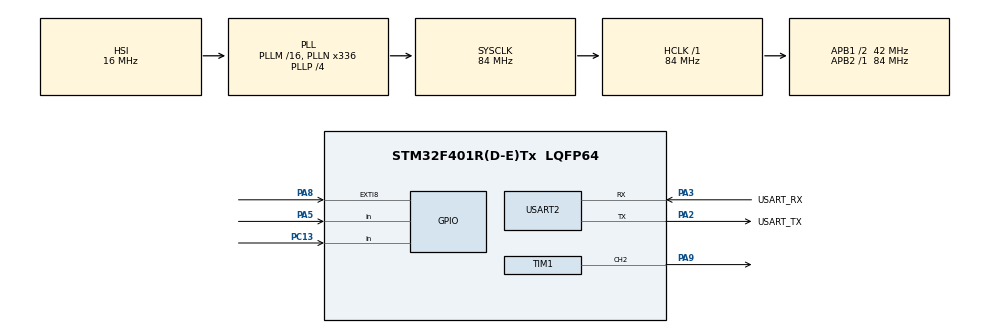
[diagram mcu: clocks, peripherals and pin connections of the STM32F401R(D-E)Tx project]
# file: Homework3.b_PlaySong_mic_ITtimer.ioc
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Mcu.Family=STM32F4
Mcu.Name=STM32F401R(D-E)Tx
Mcu.Package=LQFP64
NVIC.EXTI9_5_IRQn=true\:0\:0\:true\:false\:true\:true\:true\:true
NVIC.PriorityGroup=NVIC_PRIORITYGROUP_1
NVIC.TIM2_IRQn=true\:0\:0\:false\:false\:true\:true\:true\:true
PA13.GPIO_Label=TMS
PA13.Mode=Serial_Wire
PA13.Signal=SYS_JTMS-SWDIO
PA14.GPIO_Label=TCK
PA14.Mode=Serial_Wire
PA14.Signal=SYS_JTCK-SWCLK
PA2.GPIO_Label=USART_TX
PA2.GPIO_Mode=GPIO_MODE_AF_PP
PA2.GPIO_PuPd=GPIO_NOPULL
PA2.GPIO_Speed=GPIO_SPEED_FREQ_LOW
PA2.Mode=Asynchronous
PA2.Signal=USART2_TX
PA3.GPIO_Label=USART_RX
PA3.GPIO_Mode=GPIO_MODE_AF_PP
PA3.GPIO_PuPd=GPIO_NOPULL
PA3.GPIO_Speed=GPIO_SPEED_FREQ_LOW
PA3.Mode=Asynchronous
PA3.Signal=USART2_RX
PA5.Signal=GPIO_Input
PA8.GPIO_ModeDefaultEXTI=GPIO_MODE_IT_RISING_FALLING
PA8.Signal=GPXTI8
PA9.Signal=S_TIM1_CH2
PB3.GPIO_Label=SWO
PB3.Signal=SYS_JTDO-SWO
PC13-ANTI_TAMP.Signal=GPIO_Input
PC14-OSC32_IN.Mode=LSE-External-Oscillator
PC14-OSC32_IN.Signal=RCC_OSC32_IN
PC15-OSC32_OUT.Mode=LSE-External-Oscillator
PC15-OSC32_OUT.Signal=RCC_OSC32_OUT
PH0\ -\ OSC_IN.Mode=HSE-External-Clock-Source
PH0\ -\ OSC_IN.Signal=RCC_OSC_IN
PH1\ -\ OSC_OUT.Mode=HSE-External-Clock-Source
PH1\ -\ OSC_OUT.Signal=RCC_OSC_OUT
ProjectManager.HeapSize=0x200
ProjectManager.StackSize=0x400
ProjectManager.TargetToolchain=STM32CubeIDE
RCC.48MHZClocksFreq_Value=48000000
RCC.AHBFreq_Value=84000000
RCC.APB1CLKDivider=RCC_HCLK_DIV2
RCC.APB1Freq_Value=42000000
RCC.APB1TimFreq_Value=84000000
RCC.APB2Freq_Value=84000000
RCC.APB2TimFreq_Value=84000000
RCC.CortexFreq_Value=84000000
RCC.HCLKFreq_Value=84000000
RCC.HSE_VALUE=8000000
RCC.HSI_VALUE=16000000
RCC.PLLN=336
RCC.PLLP=RCC_PLLP_DIV4
RCC.PLLQ=7
RCC.SYSCLKFreq_VALUE=84000000
RCC.SYSCLKSource=RCC_SYSCLKSOURCE_PLLCLK
RCC.VCOOutputFreq_Value=336000000
SH.S_TIM1_CH2.0=TIM1_CH2,PWM Generation2 CH2
TIM1.Channel-PWM\ Generation2\ CH2=TIM_CHANNEL_2
TIM1.Period=65535
TIM1.Prescaler=100-1
TIM1.Pulse-PWM\ Generation2\ CH2=30000
TIM2.Period=7500
TIM2.Prescaler=0
USART2.VirtualMode=VM_ASYNC
VP_TIM1_VS_ClockSourceINT.Mode=Internal
VP_TIM2_VS_ClockSourceINT.Mode=Internal
board=NUCLEO-F401RE

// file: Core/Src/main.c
/* USER CODE BEGIN Header */
/**
  ******************************************************************************
  * @file           : main.c
  * @brief          : Main program body
  ******************************************************************************
  * @attention
  *
  * Copyright (c) 2024 STMicroelectronics.
  * All rights reserved.
  *
  * This software is licensed under terms that can be found in the LICENSE file
  * in the root directory of this software component.
  * If no LICENSE file comes with this software, it is provided AS-IS.
  *
  ******************************************************************************
  */
/* USER CODE END Header */
#include "main.h"

/* USER CODE BEGIN PTD */
struct note{
	int tone;
	int duration;
};
/* USER CODE END PTD */

/* USER CODE BEGIN PD */
#define DO4  3205
#define DOD4 3031
#define RE4  2856
#define RED4 2700
#define MI4  2544
#define FA4  2406
#define FAD4 2269
#define SOL4 2142
#define SOLD4 2023
#define LA4  1908
#define LAD4 1802
#define SI4  1699

#define TEMPO  75 //in ms
/* USER CODE END PD */

TIM_HandleTypeDef htim1;
TIM_HandleTypeDef htim2;

UART_HandleTypeDef huart2;

/* USER CODE BEGIN PV */
struct note score[]={
  {SOL4,6},
  {LA4,2},
  {SOL4,4},
  {FA4,4},
  {MI4,4},
  {FA4,4},
  {SOL4,8},
  {RE4,4},
  {MI4,4},
  {FA4,8},
  {MI4,4},
  {FA4,4},
  {SOL4,8},
  {SOL4,6},
  {LA4,2},
  {SOL4,4},
  {FA4,4},
  {MI4,4},
  {FA4,4},
  {SOL4,8},
  {RE4,8},
  {SOL4,8},
  {MI4,4},
  {DO4,12}
};

uint32_t note_index = 0;

// sizeof gives the occupation in Bytes of something: in this case the length of the song
int length = sizeof (score)/sizeof (score[0]);

uint32_t interrupt_enable = 1;
/* USER CODE END PV */

void SystemClock_Config(void);
static void MX_GPIO_Init(void);
static void MX_USART2_UART_Init(void);
static void MX_TIM1_Init(void);
static void MX_TIM2_Init(void);

/* USER CODE BEGIN 0 */
void playnote(uint32_t note_index){

	/*Setting TIM1 for PWM: I set it using the HAL functions.
	* This allows me to set a variable as a parameter of the timer.
	* (IOC setting are no more so important)*/

	//The Counter Period (ARR) set the tone of the note
	__HAL_TIM_SET_AUTORELOAD(&htim1, score[note_index].tone);

	//Here I set the pulse value in order to have a Duty Cycle = 50%
	__HAL_TIM_SET_COMPARE(&htim1, TIM_CHANNEL_2, score[note_index].tone/2);

	//The counter of the timer is reset
	__HAL_TIM_SET_COUNTER(&htim1, 0);

	/*Setting TIM2 as the timer for note duration*/

	/*Counter period of TIM2 allows to produce the duration of a note:
	 * there is a factor 10 as a multiplication because the prescaler
	 * is set at 8400-1, thus the counter rises up every 0,1 ms*/
	__HAL_TIM_SET_AUTORELOAD(&htim2, score[note_index].duration*TEMPO*10);

	//The counter of the timer is reset
	__HAL_TIM_SET_COUNTER(&htim2, 0);

	__HAL_TIM_CLEAR_IT(&htim2, TIM_IT_UPDATE);

	//Turning on the PWM of TIM1
	HAL_TIM_PWM_Start(&htim1, TIM_CHANNEL_2);

	//TIM2 starts to count
	HAL_TIM_Base_Start_IT(&htim2);
};

void HAL_TIM_PeriodElapsedCallback(TIM_HandleTypeDef *htim){
	if(htim==&htim2){

		//Stop of the previous note
		HAL_TIM_PWM_Stop(&htim1, TIM_CHANNEL_2);

		//Stop of the TIM2
		HAL_TIM_Base_Stop_IT(&htim2);

		if(note_index == length-1){

			//the song is finished, and we can enable another interrupts from the microphone
			note_index = 0;
			interrupt_enable = 1;
			__HAL_GPIO_EXTI_CLEAR_IT(GPIO_PIN_8);

		}else{
			note_index++;
			playnote(note_index);
		}

	}

};

void HAL_GPIO_EXTI_Callback(uint16_t GPIO_Pin)
{
	switch (GPIO_Pin){
	case GPIO_PIN_8:
		if(interrupt_enable == 1){
			//it avoids the song to restart when it is playing if another interrupt kicks in
			interrupt_enable = 0;

			playnote(note_index);

		}
	break;
		default:
	break;
	}
}

/* USER CODE END 0 */

int main(void)
{

  /* MCU Configuration--------------------------------------------------------*/

  /* Reset of all peripherals, Initializes the Flash interface and the Systick. */
  HAL_Init();

  /* Configure the system clock */
  SystemClock_Config();

  /* Initialize all configured peripherals */
  MX_GPIO_Init();
  MX_USART2_UART_Init();
  MX_TIM1_Init();
  MX_TIM2_Init();

  /* Infinite loop */
  while (1)
  {

  }
}

void SystemClock_Config(void)
{
  RCC_OscInitTypeDef RCC_OscInitStruct = {0};
  RCC_ClkInitTypeDef RCC_ClkInitStruct = {0};

  /** Configure the main internal regulator output voltage
  */
  __HAL_RCC_PWR_CLK_ENABLE();
  __HAL_PWR_VOLTAGESCALING_CONFIG(PWR_REGULATOR_VOLTAGE_SCALE2);

  /** Initializes the RCC Oscillators according to the specified parameters
  * in the RCC_OscInitTypeDef structure.
  */
  RCC_OscInitStruct.OscillatorType = RCC_OSCILLATORTYPE_HSI;
  RCC_OscInitStruct.HSIState = RCC_HSI_ON;
  RCC_OscInitStruct.HSICalibrationValue = RCC_HSICALIBRATION_DEFAULT;
  RCC_OscInitStruct.PLL.PLLState = RCC_PLL_ON;
  RCC_OscInitStruct.PLL.PLLSource = RCC_PLLSOURCE_HSI;
  RCC_OscInitStruct.PLL.PLLM = 16;
  RCC_OscInitStruct.PLL.PLLN = 336;
  RCC_OscInitStruct.PLL.PLLP = RCC_PLLP_DIV4;
  RCC_OscInitStruct.PLL.PLLQ = 7;
  if (HAL_RCC_OscConfig(&RCC_OscInitStruct) != HAL_OK)
  {
    Error_Handler();
  }

  /** Initializes the CPU, AHB and APB buses clocks
  */
  RCC_ClkInitStruct.ClockType = RCC_CLOCKTYPE_HCLK|RCC_CLOCKTYPE_SYSCLK
                              |RCC_CLOCKTYPE_PCLK1|RCC_CLOCKTYPE_PCLK2;
  RCC_ClkInitStruct.SYSCLKSource = RCC_SYSCLKSOURCE_PLLCLK;
  RCC_ClkInitStruct.AHBCLKDivider = RCC_SYSCLK_DIV1;
  RCC_ClkInitStruct.APB1CLKDivider = RCC_HCLK_DIV2;
  RCC_ClkInitStruct.APB2CLKDivider = RCC_HCLK_DIV1;

  if (HAL_RCC_ClockConfig(&RCC_ClkInitStruct, FLASH_LATENCY_2) != HAL_OK)
  {
    Error_Handler();
  }
}

static void MX_TIM1_Init(void)
{

  TIM_ClockConfigTypeDef sClockSourceConfig = {0};
  TIM_MasterConfigTypeDef sMasterConfig = {0};
  TIM_OC_InitTypeDef sConfigOC = {0};
  TIM_BreakDeadTimeConfigTypeDef sBreakDeadTimeConfig = {0};

  htim1.Instance = TIM1;
  htim1.Init.Prescaler = 100-1;
  htim1.Init.CounterMode = TIM_COUNTERMODE_UP;
  htim1.Init.Period = 65535;
  htim1.Init.ClockDivision = TIM_CLOCKDIVISION_DIV1;
  htim1.Init.RepetitionCounter = 0;
  htim1.Init.AutoReloadPreload = TIM_AUTORELOAD_PRELOAD_DISABLE;
  if (HAL_TIM_Base_Init(&htim1) != HAL_OK)
  {
    Error_Handler();
  }
  sClockSourceConfig.ClockSource = TIM_CLOCKSOURCE_INTERNAL;
  if (HAL_TIM_ConfigClockSource(&htim1, &sClockSourceConfig) != HAL_OK)
  {
    Error_Handler();
  }
  if (HAL_TIM_PWM_Init(&htim1) != HAL_OK)
  {
    Error_Handler();
  }
  sMasterConfig.MasterOutputTrigger = TIM_TRGO_RESET;
  sMasterConfig.MasterSlaveMode = TIM_MASTERSLAVEMODE_DISABLE;
  if (HAL_TIMEx_MasterConfigSynchronization(&htim1, &sMasterConfig) != HAL_OK)
  {
    Error_Handler();
  }
  sConfigOC.OCMode = TIM_OCMODE_PWM1;
  sConfigOC.Pulse = 30000;
  sConfigOC.OCPolarity = TIM_OCPOLARITY_HIGH;
  sConfigOC.OCNPolarity = TIM_OCNPOLARITY_HIGH;
  sConfigOC.OCFastMode = TIM_OCFAST_DISABLE;
  sConfigOC.OCIdleState = TIM_OCIDLESTATE_RESET;
  sConfigOC.OCNIdleState = TIM_OCNIDLESTATE_RESET;
  if (HAL_TIM_PWM_ConfigChannel(&htim1, &sConfigOC, TIM_CHANNEL_2) != HAL_OK)
  {
    Error_Handler();
  }
  sBreakDeadTimeConfig.OffStateRunMode = TIM_OSSR_DISABLE;
  sBreakDeadTimeConfig.OffStateIDLEMode = TIM_OSSI_DISABLE;
  sBreakDeadTimeConfig.LockLevel = TIM_LOCKLEVEL_OFF;
  sBreakDeadTimeConfig.DeadTime = 0;
  sBreakDeadTimeConfig.BreakState = TIM_BREAK_DISABLE;
  sBreakDeadTimeConfig.BreakPolarity = TIM_BREAKPOLARITY_HIGH;
  sBreakDeadTimeConfig.AutomaticOutput = TIM_AUTOMATICOUTPUT_DISABLE;
  if (HAL_TIMEx_ConfigBreakDeadTime(&htim1, &sBreakDeadTimeConfig) != HAL_OK)
  {
    Error_Handler();
  }
  HAL_TIM_MspPostInit(&htim1);

}

static void MX_TIM2_Init(void)
{

  TIM_ClockConfigTypeDef sClockSourceConfig = {0};
  TIM_MasterConfigTypeDef sMasterConfig = {0};

  htim2.Instance = TIM2;
  htim2.Init.Prescaler = 8400-1;
  htim2.Init.CounterMode = TIM_COUNTERMODE_UP;
  htim2.Init.Period = TEMPO*10;
  htim2.Init.ClockDivision = TIM_CLOCKDIVISION_DIV1;
  htim2.Init.AutoReloadPreload = TIM_AUTORELOAD_PRELOAD_DISABLE;
  if (HAL_TIM_Base_Init(&htim2) != HAL_OK)
  {
    Error_Handler();
  }
  sClockSourceConfig.ClockSource = TIM_CLOCKSOURCE_INTERNAL;
  if (HAL_TIM_ConfigClockSource(&htim2, &sClockSourceConfig) != HAL_OK)
  {
    Error_Handler();
  }
  sMasterConfig.MasterOutputTrigger = TIM_TRGO_RESET;
  sMasterConfig.MasterSlaveMode = TIM_MASTERSLAVEMODE_DISABLE;
  if (HAL_TIMEx_MasterConfigSynchronization(&htim2, &sMasterConfig) != HAL_OK)
  {
    Error_Handler();
  }

}

static void MX_USART2_UART_Init(void)
{

  huart2.Instance = USART2;
  huart2.Init.BaudRate = 115200;
  huart2.Init.WordLength = UART_WORDLENGTH_8B;
  huart2.Init.StopBits = UART_STOPBITS_1;
  huart2.Init.Parity = UART_PARITY_NONE;
  huart2.Init.Mode = UART_MODE_TX_RX;
  huart2.Init.HwFlowCtl = UART_HWCONTROL_NONE;
  huart2.Init.OverSampling = UART_OVERSAMPLING_16;
  if (HAL_UART_Init(&huart2) != HAL_OK)
  {
    Error_Handler();
  }

}

static void MX_GPIO_Init(void)
{
  GPIO_InitTypeDef GPIO_InitStruct = {0};

  /* GPIO Ports Clock Enable */
  __HAL_RCC_GPIOC_CLK_ENABLE();
  __HAL_RCC_GPIOH_CLK_ENABLE();
  __HAL_RCC_GPIOA_CLK_ENABLE();
  __HAL_RCC_GPIOB_CLK_ENABLE();

  /*Configure GPIO pin : PC13 */
  GPIO_InitStruct.Pin = GPIO_PIN_13;
  GPIO_InitStruct.Mode = GPIO_MODE_INPUT;
  GPIO_InitStruct.Pull = GPIO_NOPULL;
  HAL_GPIO_Init(GPIOC, &GPIO_InitStruct);

  /*Configure GPIO pin : PA5 */
  GPIO_InitStruct.Pin = GPIO_PIN_5;
  GPIO_InitStruct.Mode = GPIO_MODE_INPUT;
  GPIO_InitStruct.Pull = GPIO_NOPULL;
  HAL_GPIO_Init(GPIOA, &GPIO_InitStruct);

  /*Configure GPIO pin : PA8 */
  GPIO_InitStruct.Pin = GPIO_PIN_8;
  GPIO_InitStruct.Mode = GPIO_MODE_IT_RISING_FALLING;
  GPIO_InitStruct.Pull = GPIO_NOPULL;
  HAL_GPIO_Init(GPIOA, &GPIO_InitStruct);

  /* EXTI interrupt init*/
  HAL_NVIC_SetPriority(EXTI9_5_IRQn, 0, 0);
  HAL_NVIC_EnableIRQ(EXTI9_5_IRQn);

}

void Error_Handler(void)
{
  __disable_irq();
  while (1)
  {
  }
}
